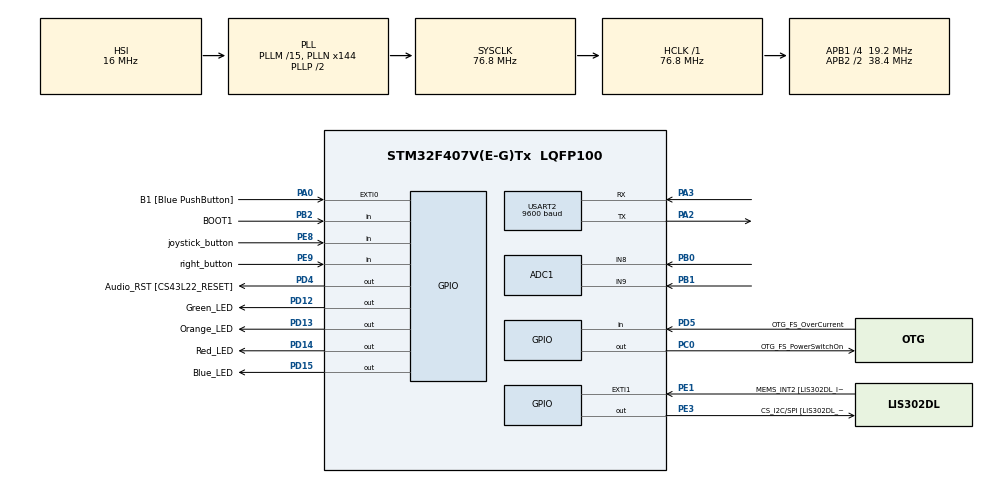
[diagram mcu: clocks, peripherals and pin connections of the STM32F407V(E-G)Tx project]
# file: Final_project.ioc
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ADC1.Channel-0\#ChannelRegularConversion=ADC_CHANNEL_8
ADC1.Channel-2\#ChannelRegularConversion=ADC_CHANNEL_9
ADC1.ContinuousConvMode=ENABLE
ADC1.NbrOfConversion=2
ADC1.NbrOfConversionFlag=1
ADC1.Rank-0\#ChannelRegularConversion=1
ADC1.Rank-2\#ChannelRegularConversion=2
ADC1.SamplingTime-0\#ChannelRegularConversion=ADC_SAMPLETIME_3CYCLES
ADC1.SamplingTime-2\#ChannelRegularConversion=ADC_SAMPLETIME_3CYCLES
ADC1.master=1
Dma.ADC1.0.Direction=DMA_PERIPH_TO_MEMORY
Dma.ADC1.0.FIFOMode=DMA_FIFOMODE_DISABLE
Dma.ADC1.0.Instance=DMA2_Stream0
Dma.ADC1.0.MemDataAlignment=DMA_MDATAALIGN_WORD
Dma.ADC1.0.MemInc=DMA_MINC_ENABLE
Dma.ADC1.0.Mode=DMA_NORMAL
Dma.ADC1.0.PeriphDataAlignment=DMA_PDATAALIGN_WORD
Dma.ADC1.0.PeriphInc=DMA_PINC_DISABLE
Dma.ADC1.0.Priority=DMA_PRIORITY_LOW
Dma.Request0=ADC1
Mcu.Family=STM32F4
Mcu.Name=STM32F407V(E-G)Tx
Mcu.Package=LQFP100
NVIC.DMA2_Stream0_IRQn=true\:0\:0\:false\:false\:true\:false\:true
NVIC.PriorityGroup=NVIC_PRIORITYGROUP_4
NVIC.TIM6_DAC_IRQn=true\:15\:0\:false\:false\:true\:false\:true
NVIC.TimeBase=TIM6_DAC_IRQn
NVIC.TimeBaseIP=TIM6
PA0-WKUP.GPIO_Label=B1 [Blue PushButton]
PA0-WKUP.Signal=GPXTI0
PA10.GPIO_Label=OTG_FS_ID
PA10.GPIO_Mode=GPIO_MODE_AF_PP
PA10.GPIO_PuPd=GPIO_NOPULL
PA10.GPIO_Speed=GPIO_SPEED_FREQ_LOW
PA10.Signal=USB_OTG_FS_ID
PA11.GPIO_Label=OTG_FS_DM
PA11.GPIO_Mode=GPIO_MODE_AF_PP
PA11.GPIO_PuPd=GPIO_NOPULL
PA11.GPIO_Speed=GPIO_SPEED_FREQ_LOW
PA11.Signal=USB_OTG_FS_DM
PA12.GPIO_Label=OTG_FS_DP
PA12.GPIO_Mode=GPIO_MODE_AF_PP
PA12.GPIO_PuPd=GPIO_NOPULL
PA12.GPIO_Speed=GPIO_SPEED_FREQ_LOW
PA12.Signal=USB_OTG_FS_DP
PA13.GPIO_Label=SWDIO
PA13.Mode=Serial_Wire
PA13.Signal=SYS_JTMS-SWDIO
PA14.GPIO_Label=SWCLK
PA14.Mode=Serial_Wire
PA14.Signal=SYS_JTCK-SWCLK
PA2.Mode=Asynchronous
PA2.Signal=USART2_TX
PA3.Mode=Asynchronous
PA3.Signal=USART2_RX
PA4.GPIO_Label=I2S3_WS [CS43L22_LRCK]
PA4.GPIO_Mode=GPIO_MODE_AF_PP
PA4.GPIO_PuPd=GPIO_NOPULL
PA4.GPIO_Speed=GPIO_SPEED_FREQ_LOW
PA4.Signal=I2S3_WS
PA5.GPIO_Label=SPI1_SCK [LIS302DL_SCL/SPC]
PA5.GPIO_Mode=GPIO_MODE_AF_PP
PA5.GPIO_PuPd=GPIO_NOPULL
PA5.GPIO_Speed=GPIO_SPEED_FREQ_LOW
PA5.Signal=SPI1_SCK
PA6.GPIO_Label=SPI1_MISO [LIS302DL_SDO]
PA6.GPIO_Mode=GPIO_MODE_AF_PP
PA6.GPIO_PuPd=GPIO_NOPULL
PA6.GPIO_Speed=GPIO_SPEED_FREQ_LOW
PA6.Signal=SPI1_MISO
PA7.GPIO_Label=SPI1_MOSI [LIS302DL_SDA/SDI/SDO]
PA7.GPIO_Mode=GPIO_MODE_AF_PP
PA7.GPIO_PuPd=GPIO_NOPULL
PA7.GPIO_Speed=GPIO_SPEED_FREQ_LOW
PA7.Signal=SPI1_MOSI
PA9.GPIO_Label=VBUS_FS
PA9.GPIO_Mode=GPIO_MODE_INPUT
PA9.GPIO_PuPd=GPIO_NOPULL
PA9.Signal=USB_OTG_FS_VBUS
PB0.Signal=ADCx_IN8
PB1.Signal=ADCx_IN9
PB10.GPIO_Label=CLK_IN [MP45DT02_CLK]
PB10.GPIO_Mode=GPIO_MODE_AF_PP
PB10.GPIO_PuPd=GPIO_NOPULL
PB10.GPIO_Speed=GPIO_SPEED_FREQ_LOW
PB10.Signal=I2S2_CK
PB2.GPIO_Label=BOOT1
PB2.Signal=GPIO_Input
PB3.GPIO_Label=SWO
PB3.Signal=SYS_JTDO-SWO
PB6.GPIO_Label=Audio_SCL [CS43L22_SCL]
PB6.GPIO_Mode=GPIO_MODE_AF_OD
PB6.GPIO_PuPd=GPIO_NOPULL
PB6.GPIO_Speed=GPIO_SPEED_FREQ_LOW
PB6.Signal=I2C1_SCL
PB9.GPIO_Label=Audio_SDA [CS43L22_SDA]
PB9.GPIO_Mode=GPIO_MODE_AF_OD
PB9.GPIO_PuPd=GPIO_NOPULL
PB9.GPIO_Speed=GPIO_SPEED_FREQ_LOW
PB9.Signal=I2C1_SDA
PC0.GPIO_Label=OTG_FS_PowerSwitchOn
PC0.GPIO_PuPd=GPIO_NOPULL
PC0.GPIO_Speed=GPIO_SPEED_FREQ_LOW
PC0.PinState=GPIO_PIN_SET
PC0.Signal=GPIO_Output
PC10.GPIO_Label=I2S3_SCK [CS43L22_SCLK]
PC10.GPIO_Mode=GPIO_MODE_AF_PP
PC10.GPIO_PuPd=GPIO_NOPULL
PC10.GPIO_Speed=GPIO_SPEED_FREQ_LOW
PC10.Signal=I2S3_CK
PC12.GPIO_Label=I2S3_SD [CS43L22_SDIN]
PC12.GPIO_Mode=GPIO_MODE_AF_PP
PC12.GPIO_PuPd=GPIO_NOPULL
PC12.GPIO_Speed=GPIO_SPEED_FREQ_LOW
PC12.Signal=I2S3_SD
PC14-OSC32_IN.GPIO_Label=PC14-OSC32_IN
PC14-OSC32_IN.Signal=RCC_OSC32_IN
PC15-OSC32_OUT.GPIO_Label=PC15-OSC32_OUT
PC15-OSC32_OUT.Signal=RCC_OSC32_OUT
PC3.GPIO_Label=PDM_OUT [MP45DT02_DOUT]
PC3.GPIO_Mode=GPIO_MODE_AF_PP
PC3.GPIO_PuPd=GPIO_NOPULL
PC3.GPIO_Speed=GPIO_SPEED_FREQ_LOW
PC3.Signal=I2S2_SD
PC7.GPIO_Label=I2S3_MCK [CS43L22_MCLK]
PC7.GPIO_Mode=GPIO_MODE_AF_PP
PC7.GPIO_PuPd=GPIO_NOPULL
PC7.GPIO_Speed=GPIO_SPEED_FREQ_LOW
PC7.Signal=I2S3_MCK
PD12.GPIO_Label=Green_LED
PD12.GPIO_PuPd=GPIO_NOPULL
PD12.GPIO_Speed=GPIO_SPEED_FREQ_LOW
PD12.Signal=GPIO_Output
PD13.GPIO_Label=Orange_LED
PD13.GPIO_PuPd=GPIO_NOPULL
PD13.GPIO_Speed=GPIO_SPEED_FREQ_LOW
PD13.Signal=GPIO_Output
PD14.GPIO_Label=Red_LED
PD14.GPIO_PuPd=GPIO_NOPULL
PD14.GPIO_Speed=GPIO_SPEED_FREQ_LOW
PD14.Signal=GPIO_Output
PD15.GPIO_Label=Blue_LED
PD15.GPIO_PuPd=GPIO_NOPULL
PD15.GPIO_Speed=GPIO_SPEED_FREQ_LOW
PD15.Signal=GPIO_Output
PD4.GPIO_Label=Audio_RST [CS43L22_RESET]
PD4.GPIO_PuPd=GPIO_NOPULL
PD4.GPIO_Speed=GPIO_SPEED_FREQ_LOW
PD4.Signal=GPIO_Output
PD5.GPIO_Label=OTG_FS_OverCurrent
PD5.GPIO_Mode=GPIO_MODE_INPUT
PD5.GPIO_PuPd=GPIO_NOPULL
PD5.Signal=GPIO_Input
PE1.GPIO_Label=MEMS_INT2 [LIS302DL_INT2]
PE1.GPIO_ModeDefaultEXTI=GPIO_MODE_EVT_RISING
PE1.GPIO_PuPd=GPIO_NOPULL
PE1.Signal=GPXTI1
PE3.GPIO_Label=CS_I2C/SPI [LIS302DL_CS_I2C/SPI]
PE3.GPIO_PuPd=GPIO_NOPULL
PE3.GPIO_Speed=GPIO_SPEED_FREQ_LOW
PE3.Signal=GPIO_Output
PE8.GPIO_Label=joystick_button
PE8.GPIO_PuPd=GPIO_PULLUP
PE8.Signal=GPIO_Input
PE9.GPIO_Label=right_button
PE9.GPIO_PuPd=GPIO_PULLUP
PE9.Signal=GPIO_Input
PH0-OSC_IN.Signal=RCC_OSC_IN
PH1-OSC_OUT.Signal=RCC_OSC_OUT
ProjectManager.HeapSize=0x200
ProjectManager.StackSize=0x400
ProjectManager.TargetToolchain=STM32CubeIDE
RCC.48MHZClocksFreq_Value=30720000
RCC.AHBFreq_Value=76800000
RCC.APB1CLKDivider=RCC_HCLK_DIV4
RCC.APB1Freq_Value=19200000
RCC.APB1TimFreq_Value=38400000
RCC.APB2CLKDivider=RCC_HCLK_DIV2
RCC.APB2Freq_Value=38400000
RCC.APB2TimFreq_Value=76800000
RCC.CortexFreq_Value=76800000
RCC.HCLKFreq_Value=76800000
RCC.HSE_VALUE=25000000
RCC.HSI_VALUE=16000000
RCC.LSE_VALUE=32768
RCC.PLLM=15
RCC.PLLN=144
RCC.PLLQ=5
RCC.SYSCLKFreq_VALUE=76800000
RCC.SYSCLKSource=RCC_SYSCLKSOURCE_PLLCLK
RCC.VCOOutputFreq_Value=153600000
SH.ADCx_IN8.0=ADC1_IN8,IN8
SH.ADCx_IN9.0=ADC1_IN9,IN9
USART2.BaudRate=9600
USART2.VirtualMode=VM_ASYNC
VP_SYS_VS_tim6.Mode=TIM6
board=STM32F407G-DISC1

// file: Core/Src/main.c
/* USER CODE BEGIN Header */
/**
  ******************************************************************************
  * @file           : main.c
  * @brief          : Main program body
  ******************************************************************************
  * @attention
  *
  * Copyright (c) 2022 STMicroelectronics.
  * All rights reserved.
  *
  * This software is licensed under terms that can be found in the LICENSE file
  * in the root directory of this software component.
  * If no LICENSE file comes with this software, it is provided AS-IS.
  *
  ******************************************************************************
  */
/* USER CODE END Header */
#include "main.h"

/* USER CODE BEGIN Includes */
#include "FreeRTOS.h"
#include "task.h"
#include "queue.h"
#include "stdio.h"
#include "string.h"
/* USER CODE END Includes */

ADC_HandleTypeDef hadc1;
DMA_HandleTypeDef hdma_adc1;

UART_HandleTypeDef huart2;

/* USER CODE BEGIN PV */

//extern USBD_HandleTypeDef hUsbDeviceFS;

/* USER CODE END PV */

void SystemClock_Config(void);
static void MX_GPIO_Init(void);
static void MX_USART2_UART_Init(void);
static void MX_DMA_Init(void);
static void MX_ADC1_Init(void);

/* USER CODE BEGIN 0 */
void USART_Test(void *pvParameters){
	char MonitorTset[30];
	int i = 0;
	while(1){
		memset(MonitorTset,'\0',sizeof(MonitorTset));
		sprintf(MonitorTset,"The point is %d\n\r",i);
		HAL_UART_Transmit(&huart2,(uint8_t *)MonitorTset,strlen(MonitorTset),0xffff);
		vTaskDelay(1000);
		i++;
	}
}

void joystick(void *pvParameters){
	uint32_t joy[2];
	char MonitorTset[4];
	memset(MonitorTset,'\0',sizeof(MonitorTset));
	while(1)
	{

		HAL_ADC_Start_DMA(&hadc1, joy, 2);
		if (joy[1]>=4000)  //up
		{
			HAL_GPIO_WritePin( GPIOD, Green_LED_Pin, GPIO_PIN_SET);
			memset(MonitorTset,'\0',sizeof(MonitorTset));
			sprintf(MonitorTset,"a\r\n");
			HAL_UART_Transmit(&huart2,(uint8_t *)MonitorTset,strlen(MonitorTset),0xffff);
		}
		else
		{
			HAL_GPIO_WritePin( GPIOD, Green_LED_Pin, GPIO_PIN_RESET);
		}
		if (joy[1]<=800)  //down
		{
			HAL_GPIO_WritePin( GPIOD, Red_LED_Pin, GPIO_PIN_SET);
			memset(MonitorTset,'\0',sizeof(MonitorTset));
			sprintf(MonitorTset,"b\r\n");
			HAL_UART_Transmit(&huart2,(uint8_t *)MonitorTset,strlen(MonitorTset),0xffff);
		}
		else
		{
			HAL_GPIO_WritePin( GPIOD, Red_LED_Pin, GPIO_PIN_RESET);
		}
		if (joy[0]>=4000)  //right
		{
			HAL_GPIO_WritePin( GPIOD, Orange_LED_Pin, GPIO_PIN_SET);
			memset(MonitorTset,'\0',sizeof(MonitorTset));
			sprintf(MonitorTset,"c\r\n");
			HAL_UART_Transmit(&huart2,(uint8_t *)MonitorTset,strlen(MonitorTset),0xffff);
		}
		else
		{
			HAL_GPIO_WritePin( GPIOD, Orange_LED_Pin, GPIO_PIN_RESET);
		}
		if (joy[0]<=800)  //left
		{
			HAL_GPIO_WritePin( GPIOD, Blue_LED_Pin, GPIO_PIN_SET);
			memset(MonitorTset,'\0',sizeof(MonitorTset));
			sprintf(MonitorTset,"d\r\n");
			HAL_UART_Transmit(&huart2,(uint8_t *)MonitorTset,strlen(MonitorTset),0xffff);
		}
		else
		{
			HAL_GPIO_WritePin( GPIOD, Blue_LED_Pin, GPIO_PIN_RESET);
		}
		if (HAL_GPIO_ReadPin( joystick_button_GPIO_Port, joystick_button_Pin))
		{
			HAL_GPIO_WritePin( GPIOD, Green_LED_Pin, GPIO_PIN_RESET);
			HAL_GPIO_WritePin( GPIOD, Orange_LED_Pin, GPIO_PIN_RESET);
			HAL_GPIO_WritePin( GPIOD, Red_LED_Pin, GPIO_PIN_RESET);
			HAL_GPIO_WritePin( GPIOD, Blue_LED_Pin, GPIO_PIN_RESET);
		}
		else
		{
			vTaskDelay(1);
			while(!(HAL_GPIO_ReadPin(joystick_button_GPIO_Port, joystick_button_Pin)))
			{
				;
			}
			HAL_GPIO_WritePin( GPIOD, Green_LED_Pin, GPIO_PIN_SET);
			HAL_GPIO_WritePin( GPIOD, Orange_LED_Pin, GPIO_PIN_SET);
			HAL_GPIO_WritePin( GPIOD, Red_LED_Pin, GPIO_PIN_SET);
			HAL_GPIO_WritePin( GPIOD, Blue_LED_Pin, GPIO_PIN_SET);
			memset(MonitorTset,'\0',sizeof(MonitorTset));
			sprintf(MonitorTset,"e\r\n");
			HAL_UART_Transmit(&huart2,(uint8_t *)MonitorTset,strlen(MonitorTset),0xffff);
		}
		if (HAL_GPIO_ReadPin( right_button_GPIO_Port, right_button_Pin))
		{
			vTaskDelay(1);
			while(!(HAL_GPIO_ReadPin(right_button_GPIO_Port, right_button_Pin)))
			{
				;
			}
			HAL_GPIO_WritePin( GPIOD, Green_LED_Pin, GPIO_PIN_SET);
			memset(MonitorTset,'\0',sizeof(MonitorTset));
			sprintf(MonitorTset,"f\r\n");
			HAL_UART_Transmit(&huart2,(uint8_t *)MonitorTset,strlen(MonitorTset),0xffff);
		}
		else
		{
			HAL_GPIO_WritePin( GPIOD, Green_LED_Pin, GPIO_PIN_RESET);
		}
		//vTaskDelay(10);
	}
}

void LED_Task( void ){
	//HAL_GPIO_WritePin(GPIOD, GPIO_PIN_12 | GPIO_PIN_13 | GPIO_PIN_14 | GPIO_PIN_15, GPIO_PIN_RESET);
	for(;;)
	{
		HAL_GPIO_TogglePin(GPIOD,Red_LED_Pin);
		vTaskDelay(1000);
	}
}

/* USER CODE END 0 */

int main(void)
{

  /* MCU Configuration--------------------------------------------------------*/

  /* Reset of all peripherals, Initializes the Flash interface and the Systick. */
  HAL_Init();

  /* Configure the system clock */
  SystemClock_Config();

  /* Initialize all configured peripherals */
  MX_GPIO_Init();
  MX_USART2_UART_Init();
  MX_DMA_Init();
  MX_ADC1_Init();
  /* USER CODE BEGIN 2 */

  //xTaskCreate(bluetooth,"bluetooth",128,NULL,1,NULL);

  //xTaskCreate(LED_Task,"led_task",128,NULL,1,NULL);

  //xTaskCreate(USART_Test,"USART_Test",128,NULL,1,NULL);

  xTaskCreate(joystick,"joystick",2048,NULL,1,NULL);

  vTaskStartScheduler();
  /* USER CODE END 2 */

  /* Infinite loop */
  while (1)
  {

  }
}

void SystemClock_Config(void)
{
  RCC_OscInitTypeDef RCC_OscInitStruct = {0};
  RCC_ClkInitTypeDef RCC_ClkInitStruct = {0};

  /** Configure the main internal regulator output voltage
  */
  __HAL_RCC_PWR_CLK_ENABLE();
  __HAL_PWR_VOLTAGESCALING_CONFIG(PWR_REGULATOR_VOLTAGE_SCALE1);
  /** Initializes the RCC Oscillators according to the specified parameters
  * in the RCC_OscInitTypeDef structure.
  */
  RCC_OscInitStruct.OscillatorType = RCC_OSCILLATORTYPE_HSI;
  RCC_OscInitStruct.HSIState = RCC_HSI_ON;
  RCC_OscInitStruct.HSICalibrationValue = RCC_HSICALIBRATION_DEFAULT;
  RCC_OscInitStruct.PLL.PLLState = RCC_PLL_ON;
  RCC_OscInitStruct.PLL.PLLSource = RCC_PLLSOURCE_HSI;
  RCC_OscInitStruct.PLL.PLLM = 15;
  RCC_OscInitStruct.PLL.PLLN = 144;
  RCC_OscInitStruct.PLL.PLLP = RCC_PLLP_DIV2;
  RCC_OscInitStruct.PLL.PLLQ = 5;
  if (HAL_RCC_OscConfig(&RCC_OscInitStruct) != HAL_OK)
  {
    Error_Handler();
  }
  /** Initializes the CPU, AHB and APB buses clocks
  */
  RCC_ClkInitStruct.ClockType = RCC_CLOCKTYPE_HCLK|RCC_CLOCKTYPE_SYSCLK
                              |RCC_CLOCKTYPE_PCLK1|RCC_CLOCKTYPE_PCLK2;
  RCC_ClkInitStruct.SYSCLKSource = RCC_SYSCLKSOURCE_PLLCLK;
  RCC_ClkInitStruct.AHBCLKDivider = RCC_SYSCLK_DIV1;
  RCC_ClkInitStruct.APB1CLKDivider = RCC_HCLK_DIV4;
  RCC_ClkInitStruct.APB2CLKDivider = RCC_HCLK_DIV2;

  if (HAL_RCC_ClockConfig(&RCC_ClkInitStruct, FLASH_LATENCY_2) != HAL_OK)
  {
    Error_Handler();
  }
}

static void MX_ADC1_Init(void)
{

  ADC_ChannelConfTypeDef sConfig = {0};

  /** Configure the global features of the ADC (Clock, Resolution, Data Alignment and number of conversion)
  */
  hadc1.Instance = ADC1;
  hadc1.Init.ClockPrescaler = ADC_CLOCK_SYNC_PCLK_DIV2;
  hadc1.Init.Resolution = ADC_RESOLUTION_12B;
  hadc1.Init.ScanConvMode = ENABLE;
  hadc1.Init.ContinuousConvMode = ENABLE;
  hadc1.Init.DiscontinuousConvMode = DISABLE;
  hadc1.Init.ExternalTrigConvEdge = ADC_EXTERNALTRIGCONVEDGE_NONE;
  hadc1.Init.ExternalTrigConv = ADC_SOFTWARE_START;
  hadc1.Init.DataAlign = ADC_DATAALIGN_RIGHT;
  hadc1.Init.NbrOfConversion = 2;
  hadc1.Init.DMAContinuousRequests = DISABLE;
  hadc1.Init.EOCSelection = ADC_EOC_SINGLE_CONV;
  if (HAL_ADC_Init(&hadc1) != HAL_OK)
  {
    Error_Handler();
  }
  /** Configure for the selected ADC regular channel its corresponding rank in the sequencer and its sample time.
  */
  sConfig.Channel = ADC_CHANNEL_8;
  sConfig.Rank = 1;
  sConfig.SamplingTime = ADC_SAMPLETIME_3CYCLES;
  if (HAL_ADC_ConfigChannel(&hadc1, &sConfig) != HAL_OK)
  {
    Error_Handler();
  }
  /** Configure for the selected ADC regular channel its corresponding rank in the sequencer and its sample time.
  */
  sConfig.Channel = ADC_CHANNEL_9;
  sConfig.Rank = 2;
  if (HAL_ADC_ConfigChannel(&hadc1, &sConfig) != HAL_OK)
  {
    Error_Handler();
  }

}

static void MX_USART2_UART_Init(void)
{

  huart2.Instance = USART2;
  huart2.Init.BaudRate = 9600;
  huart2.Init.WordLength = UART_WORDLENGTH_8B;
  huart2.Init.StopBits = UART_STOPBITS_1;
  huart2.Init.Parity = UART_PARITY_NONE;
  huart2.Init.Mode = UART_MODE_TX_RX;
  huart2.Init.HwFlowCtl = UART_HWCONTROL_NONE;
  huart2.Init.OverSampling = UART_OVERSAMPLING_16;
  if (HAL_UART_Init(&huart2) != HAL_OK)
  {
    Error_Handler();
  }

}

static void MX_DMA_Init(void)
{

  /* DMA controller clock enable */
  __HAL_RCC_DMA2_CLK_ENABLE();

  /* DMA interrupt init */
  /* DMA2_Stream0_IRQn interrupt configuration */
  HAL_NVIC_SetPriority(DMA2_Stream0_IRQn, 0, 0);
  HAL_NVIC_EnableIRQ(DMA2_Stream0_IRQn);

}

static void MX_GPIO_Init(void)
{
  GPIO_InitTypeDef GPIO_InitStruct = {0};

  /* GPIO Ports Clock Enable */
  __HAL_RCC_GPIOE_CLK_ENABLE();
  __HAL_RCC_GPIOC_CLK_ENABLE();
  __HAL_RCC_GPIOH_CLK_ENABLE();
  __HAL_RCC_GPIOA_CLK_ENABLE();
  __HAL_RCC_GPIOB_CLK_ENABLE();
  __HAL_RCC_GPIOD_CLK_ENABLE();

  /*Configure GPIO pin Output Level */
  HAL_GPIO_WritePin(CS_I2C_SPI_GPIO_Port, CS_I2C_SPI_Pin, GPIO_PIN_RESET);

  /*Configure GPIO pin Output Level */
  HAL_GPIO_WritePin(OTG_FS_PowerSwitchOn_GPIO_Port, OTG_FS_PowerSwitchOn_Pin, GPIO_PIN_SET);

  /*Configure GPIO pin Output Level */
  HAL_GPIO_WritePin(GPIOD, Green_LED_Pin|Orange_LED_Pin|Red_LED_Pin|Blue_LED_Pin
                          |Audio_RST_Pin, GPIO_PIN_RESET);

  /*Configure GPIO pin : CS_I2C_SPI_Pin */
  GPIO_InitStruct.Pin = CS_I2C_SPI_Pin;
  GPIO_InitStruct.Mode = GPIO_MODE_OUTPUT_PP;
  GPIO_InitStruct.Pull = GPIO_NOPULL;
  GPIO_InitStruct.Speed = GPIO_SPEED_FREQ_LOW;
  HAL_GPIO_Init(CS_I2C_SPI_GPIO_Port, &GPIO_InitStruct);

  /*Configure GPIO pin : OTG_FS_PowerSwitchOn_Pin */
  GPIO_InitStruct.Pin = OTG_FS_PowerSwitchOn_Pin;
  GPIO_InitStruct.Mode = GPIO_MODE_OUTPUT_PP;
  GPIO_InitStruct.Pull = GPIO_NOPULL;
  GPIO_InitStruct.Speed = GPIO_SPEED_FREQ_LOW;
  HAL_GPIO_Init(OTG_FS_PowerSwitchOn_GPIO_Port, &GPIO_InitStruct);

  /*Configure GPIO pin : PDM_OUT_Pin */
  GPIO_InitStruct.Pin = PDM_OUT_Pin;
  GPIO_InitStruct.Mode = GPIO_MODE_AF_PP;
  GPIO_InitStruct.Pull = GPIO_NOPULL;
  GPIO_InitStruct.Speed = GPIO_SPEED_FREQ_LOW;
  GPIO_InitStruct.Alternate = GPIO_AF5_SPI2;
  HAL_GPIO_Init(PDM_OUT_GPIO_Port, &GPIO_InitStruct);

  /*Configure GPIO pin : B1_Pin */
  GPIO_InitStruct.Pin = B1_Pin;
  GPIO_InitStruct.Mode = GPIO_MODE_IT_RISING;
  GPIO_InitStruct.Pull = GPIO_NOPULL;
  HAL_GPIO_Init(B1_GPIO_Port, &GPIO_InitStruct);

  /*Configure GPIO pin : I2S3_WS_Pin */
  GPIO_InitStruct.Pin = I2S3_WS_Pin;
  GPIO_InitStruct.Mode = GPIO_MODE_AF_PP;
  GPIO_InitStruct.Pull = GPIO_NOPULL;
  GPIO_InitStruct.Speed = GPIO_SPEED_FREQ_LOW;
  GPIO_InitStruct.Alternate = GPIO_AF6_SPI3;
  HAL_GPIO_Init(I2S3_WS_GPIO_Port, &GPIO_InitStruct);

  /*Configure GPIO pins : SPI1_SCK_Pin SPI1_MISO_Pin SPI1_MOSI_Pin */
  GPIO_InitStruct.Pin = SPI1_SCK_Pin|SPI1_MISO_Pin|SPI1_MOSI_Pin;
  GPIO_InitStruct.Mode = GPIO_MODE_AF_PP;
  GPIO_InitStruct.Pull = GPIO_NOPULL;
  GPIO_InitStruct.Speed = GPIO_SPEED_FREQ_LOW;
  GPIO_InitStruct.Alternate = GPIO_AF5_SPI1;
  HAL_GPIO_Init(GPIOA, &GPIO_InitStruct);

  /*Configure GPIO pin : BOOT1_Pin */
  GPIO_InitStruct.Pin = BOOT1_Pin;
  GPIO_InitStruct.Mode = GPIO_MODE_INPUT;
  GPIO_InitStruct.Pull = GPIO_NOPULL;
  HAL_GPIO_Init(BOOT1_GPIO_Port, &GPIO_InitStruct);

  /*Configure GPIO pins : joystick_button_Pin right_button_Pin */
  GPIO_InitStruct.Pin = joystick_button_Pin|right_button_Pin;
  GPIO_InitStruct.Mode = GPIO_MODE_INPUT;
  GPIO_InitStruct.Pull = GPIO_PULLUP;
  HAL_GPIO_Init(GPIOE, &GPIO_InitStruct);

  /*Configure GPIO pin : CLK_IN_Pin */
  GPIO_InitStruct.Pin = CLK_IN_Pin;
  GPIO_InitStruct.Mode = GPIO_MODE_AF_PP;
  GPIO_InitStruct.Pull = GPIO_NOPULL;
  GPIO_InitStruct.Speed = GPIO_SPEED_FREQ_LOW;
  GPIO_InitStruct.Alternate = GPIO_AF5_SPI2;
  HAL_GPIO_Init(CLK_IN_GPIO_Port, &GPIO_InitStruct);

  /*Configure GPIO pins : Green_LED_Pin Orange_LED_Pin Red_LED_Pin Blue_LED_Pin
                           Audio_RST_Pin */
  GPIO_InitStruct.Pin = Green_LED_Pin|Orange_LED_Pin|Red_LED_Pin|Blue_LED_Pin
                          |Audio_RST_Pin;
  GPIO_InitStruct.Mode = GPIO_MODE_OUTPUT_PP;
  GPIO_InitStruct.Pull = GPIO_NOPULL;
  GPIO_InitStruct.Speed = GPIO_SPEED_FREQ_LOW;
  HAL_GPIO_Init(GPIOD, &GPIO_InitStruct);

  /*Configure GPIO pins : I2S3_MCK_Pin I2S3_SCK_Pin I2S3_SD_Pin */
  GPIO_InitStruct.Pin = I2S3_MCK_Pin|I2S3_SCK_Pin|I2S3_SD_Pin;
  GPIO_InitStruct.Mode = GPIO_MODE_AF_PP;
  GPIO_InitStruct.Pull = GPIO_NOPULL;
  GPIO_InitStruct.Speed = GPIO_SPEED_FREQ_LOW;
  GPIO_InitStruct.Alternate = GPIO_AF6_SPI3;
  HAL_GPIO_Init(GPIOC, &GPIO_InitStruct);

  /*Configure GPIO pin : VBUS_FS_Pin */
  GPIO_InitStruct.Pin = VBUS_FS_Pin;
  GPIO_InitStruct.Mode = GPIO_MODE_INPUT;
  GPIO_InitStruct.Pull = GPIO_NOPULL;
  HAL_GPIO_Init(VBUS_FS_GPIO_Port, &GPIO_InitStruct);

  /*Configure GPIO pins : OTG_FS_ID_Pin OTG_FS_DM_Pin OTG_FS_DP_Pin */
  GPIO_InitStruct.Pin = OTG_FS_ID_Pin|OTG_FS_DM_Pin|OTG_FS_DP_Pin;
  GPIO_InitStruct.Mode = GPIO_MODE_AF_PP;
  GPIO_InitStruct.Pull = GPIO_NOPULL;
  GPIO_InitStruct.Speed = GPIO_SPEED_FREQ_LOW;
  GPIO_InitStruct.Alternate = GPIO_AF10_OTG_FS;
  HAL_GPIO_Init(GPIOA, &GPIO_InitStruct);

  /*Configure GPIO pin : OTG_FS_OverCurrent_Pin */
  GPIO_InitStruct.Pin = OTG_FS_OverCurrent_Pin;
  GPIO_InitStruct.Mode = GPIO_MODE_INPUT;
  GPIO_InitStruct.Pull = GPIO_NOPULL;
  HAL_GPIO_Init(OTG_FS_OverCurrent_GPIO_Port, &GPIO_InitStruct);

  /*Configure GPIO pins : Audio_SCL_Pin Audio_SDA_Pin */
  GPIO_InitStruct.Pin = Audio_SCL_Pin|Audio_SDA_Pin;
  GPIO_InitStruct.Mode = GPIO_MODE_AF_OD;
  GPIO_InitStruct.Pull = GPIO_NOPULL;
  GPIO_InitStruct.Speed = GPIO_SPEED_FREQ_LOW;
  GPIO_InitStruct.Alternate = GPIO_AF4_I2C1;
  HAL_GPIO_Init(GPIOB, &GPIO_InitStruct);

  /*Configure GPIO pin : MEMS_INT2_Pin */
  GPIO_InitStruct.Pin = MEMS_INT2_Pin;
  GPIO_InitStruct.Mode = GPIO_MODE_EVT_RISING;
  GPIO_InitStruct.Pull = GPIO_NOPULL;
  HAL_GPIO_Init(MEMS_INT2_GPIO_Port, &GPIO_InitStruct);

}

void HAL_TIM_PeriodElapsedCallback(TIM_HandleTypeDef *htim)
{
  if (htim->Instance == TIM6) {
    HAL_IncTick();
  }
}

void Error_Handler(void)
{
  __disable_irq();
  while (1)
  {
  }
}
